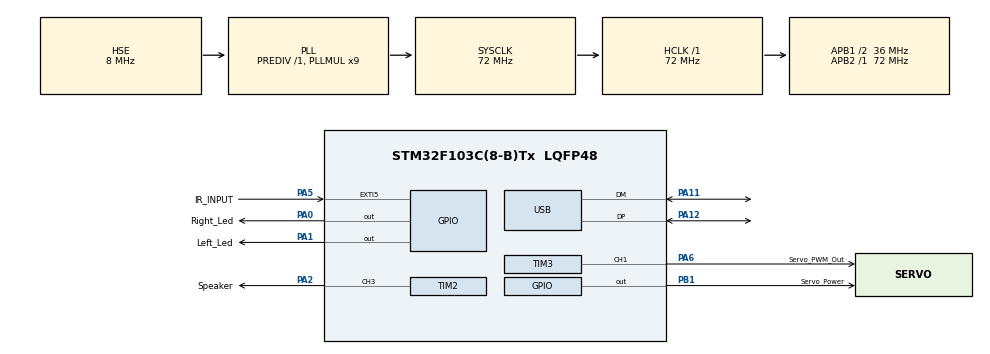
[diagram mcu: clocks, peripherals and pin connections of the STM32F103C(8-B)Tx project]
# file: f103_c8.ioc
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Mcu.Family=STM32F1
Mcu.Name=STM32F103C(8-B)Tx
Mcu.Package=LQFP48
NVIC.EXTI9_5_IRQn=true\:0\:0\:false\:false\:true\:true
NVIC.PriorityGroup=NVIC_PRIORITYGROUP_4
NVIC.TIM2_IRQn=true\:0\:0\:false\:false\:true\:true
NVIC.USB_LP_CAN1_RX0_IRQn=true\:0\:0\:false\:false\:true\:false
PA0-WKUP.GPIO_Label=Right_Led
PA0-WKUP.Signal=GPIO_Output
PA1.GPIO_Label=Left_Led
PA1.Signal=GPIO_Output
PA11.Mode=Device
PA11.Signal=USB_DM
PA12.Mode=Device
PA12.Signal=USB_DP
PA13.Mode=Serial_Wire
PA13.Signal=SYS_JTMS-SWDIO
PA14.Mode=Serial_Wire
PA14.Signal=SYS_JTCK-SWCLK
PA2.GPIO_Label=Speaker
PA2.Signal=S_TIM2_CH3
PA5.GPIO_Label=IR_INPUT
PA5.GPIO_ModeDefaultEXTI=GPIO_MODE_IT_RISING_FALLING
PA5.Signal=GPXTI5
PA6.GPIO_Label=Servo_PWM_Out
PA6.Signal=S_TIM3_CH1
PB1.GPIO_Label=Servo_Power
PB1.Signal=GPIO_Output
PC14-OSC32_IN.Mode=LSE-External-Oscillator
PC14-OSC32_IN.Signal=RCC_OSC32_IN
PC15-OSC32_OUT.Mode=LSE-External-Oscillator
PC15-OSC32_OUT.Signal=RCC_OSC32_OUT
PD0-OSC_IN.Mode=HSE-External-Oscillator
PD0-OSC_IN.Signal=RCC_OSC_IN
PD1-OSC_OUT.Mode=HSE-External-Oscillator
PD1-OSC_OUT.Signal=RCC_OSC_OUT
ProjectManager.HeapSize=0x200
ProjectManager.StackSize=0x400
ProjectManager.TargetToolchain=SW4STM32
RCC.AHBFreq_Value=72000000
RCC.APB1CLKDivider=RCC_HCLK_DIV2
RCC.APB1Freq_Value=36000000
RCC.APB1TimFreq_Value=72000000
RCC.APB2Freq_Value=72000000
RCC.APB2TimFreq_Value=72000000
RCC.HCLKFreq_Value=72000000
RCC.PLLMUL=RCC_PLL_MUL9
RCC.PLLSourceVirtual=RCC_PLLSOURCE_HSE
RCC.SYSCLKFreq_VALUE=72000000
RCC.SYSCLKSource=RCC_SYSCLKSOURCE_PLLCLK
RCC.USBFreq_Value=48000000
RCC.USBPrescaler=RCC_USBCLKSOURCE_PLL_DIV1_5
SH.S_TIM2_CH3.0=TIM2_CH3,PWM Generation3 CH3
SH.S_TIM3_CH1.0=TIM3_CH1,PWM Generation1 CH1
TIM2.Channel-PWM\ Generation3\ CH3=TIM_CHANNEL_3
TIM2.Period=450
TIM2.Prescaler=0
TIM3.Channel-PWM\ Generation1\ CH1=TIM_CHANNEL_1
TIM3.Period=1800-1
TIM3.Prescaler=800-1
TIM3.Pulse-PWM\ Generation1\ CH1=90
USB_DEVICE.CLASS_NAME_FS=CDC
USB_DEVICE.VirtualMode=Cdc
USB_DEVICE.VirtualModeFS=Cdc_FS
VP_TIM2_VS_ClockSourceINT.Mode=Internal
VP_TIM3_VS_ClockSourceINT.Mode=Internal
VP_USB_DEVICE_VS_USB_DEVICE_CDC_FS.Mode=CDC_FS
board=custom

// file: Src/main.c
/* USER CODE BEGIN Header */
/**
  ******************************************************************************
  * @file           : main.c
  * @brief          : Main program body
  ******************************************************************************
  * This notice applies to any and all portions of this file
  * that are not between comment pairs USER CODE BEGIN and
  * USER CODE END. Other portions of this file, whether
  * inserted by the user or by software development tools
  * are owned by their respective copyright owners.
  *
  * Copyright (c) 2018 STMicroelectronics International N.V.
  * All rights reserved.
  *
  * Redistribution and use in source and binary forms, with or without
  * modification, are permitted, provided that the following conditions are met:
  *
  * 1. Redistribution of source code must retain the above copyright notice,
  *    this list of conditions and the following disclaimer.
  * 2. Redistributions in binary form must reproduce the above copyright notice,
  *    this list of conditions and the following disclaimer in the documentation
  *    and/or other materials provided with the distribution.
  * 3. Neither the name of STMicroelectronics nor the names of other
  *    contributors to this software may be used to endorse or promote products
  *    derived from this software without specific written permission.
  * 4. This software, including modifications and/or derivative works of this
  *    software, must execute solely and exclusively on microcontroller or
  *    microprocessor devices manufactured by or for STMicroelectronics.
  * 5. Redistribution and use of this software other than as permitted under
  *    this license is void and will automatically terminate your rights under
  *    this license.
  *
  * THIS SOFTWARE IS PROVIDED BY STMICROELECTRONICS AND CONTRIBUTORS "AS IS"
  * AND ANY EXPRESS, IMPLIED OR STATUTORY WARRANTIES, INCLUDING, BUT NOT
  * LIMITED TO, THE IMPLIED WARRANTIES OF MERCHANTABILITY, FITNESS FOR A
  * PARTICULAR PURPOSE AND NON-INFRINGEMENT OF THIRD PARTY INTELLECTUAL PROPERTY
  * RIGHTS ARE DISCLAIMED TO THE FULLEST EXTENT PERMITTED BY LAW. IN NO EVENT
  * SHALL STMICROELECTRONICS OR CONTRIBUTORS BE LIABLE FOR ANY DIRECT, INDIRECT,
  * INCIDENTAL, SPECIAL, EXEMPLARY, OR CONSEQUENTIAL DAMAGES (INCLUDING, BUT NOT
  * LIMITED TO, PROCUREMENT OF SUBSTITUTE GOODS OR SERVICES; LOSS OF USE, DATA,
  * OR PROFITS; OR BUSINESS INTERRUPTION) HOWEVER CAUSED AND ON ANY THEORY OF
  * LIABILITY, WHETHER IN CONTRACT, STRICT LIABILITY, OR TORT (INCLUDING
  * NEGLIGENCE OR OTHERWISE) ARISING IN ANY WAY OUT OF THE USE OF THIS SOFTWARE,
  * EVEN IF ADVISED OF THE POSSIBILITY OF SUCH DAMAGE.
  *
  ******************************************************************************
  */
/* USER CODE END Header */

#include "main.h"
#include "tim.h"
#include "usb_device.h"
#include "gpio.h"

/* USER CODE BEGIN Includes */
#include "bell.h"
#include "irmp.h"
/* USER CODE END Includes */

/* USER CODE BEGIN PD */
#define FALSE		0
#define TRUE      	1
#define OFF       	0
#define ON        	1
#define UP        	0
#define DOWN      	1
#define GO_UP     	-1
#define GO_DOWN    	1
#define ANGLE_PWM_COMPARE_MIN                   90
#define BARRIER_START_ANGLE                      0
#define BARRIER_STOP_ANGLE                      80
#define BARRIER_ANGLE_STEP_INTERVAL_MS         20UL
#define RUNNING 	0
#define STOPPED 	1
#define IR_KEY_ADDRESS  48896
#define LIGHTS_TOGGLE_INTERVAL_MS 		800UL
#define IDLE_SLEEP_TIMEOUT_MS			5000UL
/* USER CODE END PD */

/* USER CODE BEGIN PM */
#ifdef APP_DEBUG
#define DEBUG_APP(debug_line) \
  do { \
    char* message = debug_line; \
    CDC_Transmit_FS(message, strlen(message)); \
  } while(0)
#endif

#define SERVO_POWER_UP()				HAL_GPIO_WritePin(Servo_Power_GPIO_Port, Servo_Power_Pin, GPIO_PIN_SET)
#define SERVO_POWER_DOWN()				HAL_GPIO_WritePin(Servo_Power_GPIO_Port, Servo_Power_Pin, GPIO_PIN_RESET)
#define LEFT_LIGHT_OFF()				HAL_GPIO_WritePin(Left_Led_GPIO_Port, Left_Led_Pin, GPIO_PIN_RESET)
#define RIGHT_LIGHT_OFF()				HAL_GPIO_WritePin(Right_Led_GPIO_Port, Right_Led_Pin, GPIO_PIN_RESET)
#define TOGGLE_LEFT_LIGHT()				HAL_GPIO_TogglePin(Left_Led_GPIO_Port, Left_Led_Pin)
#define TOGGLE_RIGHT_LIGHT()			HAL_GPIO_TogglePin(Right_Led_GPIO_Port, Right_Led_Pin)
#define GET_LEFT_LIGHT_STATE()			HAL_GPIO_ReadPin(Left_Led_GPIO_Port, Left_Led_Pin)
#define GET_RIGHT_LIGHT_STATE()			HAL_GPIO_ReadPin(Right_Led_GPIO_Port, Right_Led_Pin)
#define SET_LEFT_LIGHT_STATE(state)		HAL_GPIO_WritePin(Left_Led_GPIO_Port, Left_Led_Pin, state)
#define SET_RIGHT_LIGHT_STATE(state)	HAL_GPIO_WritePin(Right_Led_GPIO_Port, Right_Led_Pin, state)
#define LIGHTS_OFF()	\
	LEFT_LIGHT_OFF();	\
	RIGHT_LIGHT_OFF()
/* USER CODE END PM */

/* USER CODE BEGIN PV */
/* Private variables ---------------------------------------------------------*/
static uint8_t barrier_pwm_state = STOPPED;
static uint8_t barrier_state = UP;
static int8_t barrier_direction = GO_UP;
static uint8_t audio_tick = FALSE;
/* USER CODE END PV */

void SystemClock_Config(void);
/* USER CODE BEGIN PFP */
/* Private function prototypes -----------------------------------------------*/

/* USER CODE END PFP */

/* USER CODE BEGIN 0 */
void HAL_TIM_PeriodElapsedCallback(TIM_HandleTypeDef *htim) {
	// this callback runs with a frequency of 160KHz for PWM Audio output
	static uint32_t freq_divider = 0;

	if (htim->Instance == htim2.Instance) {
		// IR & Audio sampling frequency must be ~16KHz
		if (++freq_divider >= 10) {
			irmp_ISR();
			audio_tick = TRUE;
			freq_divider = 0;
		}
	}
}

static void Audio_Task(void) {
	static uint32_t sound_sample_index = 0;

	if (audio_tick) {
		if (barrier_direction == GO_DOWN || barrier_state == DOWN) {
			if (++sound_sample_index >= SND_DATA_SAMPLES) {
				sound_sample_index = 0;
			}
			__HAL_TIM_SET_COMPARE(&htim2, TIM_CHANNEL_3,
					bell_sound_data[sound_sample_index]);
		}

		if (barrier_state == UP) {
			sound_sample_index = 0;
			__HAL_TIM_SET_COMPARE(&htim2, TIM_CHANNEL_3, 0);
		}
		audio_tick = FALSE;
	}
}

static void IR_Task(void) {
	IRMP_DATA irmp_data;

	if (irmp_get_data(&irmp_data)) {
#ifdef APP_DEBUG
		char ir_message[128];
		//DEBUG_APP("GOT IR SIGNAL\r\n");
		sprintf(ir_message, "IR Command: %d Address: %d\r\n", irmp_data.command,
				irmp_data.address);
		DEBUG_APP(ir_message);
#endif
		if (irmp_data.address == IR_KEY_ADDRESS) {
			if (barrier_state == UP) {
				barrier_direction = GO_DOWN;
			}

			if (barrier_state == DOWN) {
				barrier_direction = GO_UP;
			}
		}
	}
}

static void Lights_Task(void) {
	static uint32_t last_tick = 0;

	if (barrier_direction == GO_DOWN || barrier_state == DOWN) {
		if ((HAL_GetTick() - last_tick) >= LIGHTS_TOGGLE_INTERVAL_MS) {
			TOGGLE_RIGHT_LIGHT();
			SET_LEFT_LIGHT_STATE(!GET_RIGHT_LIGHT_STATE());
			last_tick = HAL_GetTick();
		}
	}

	if (barrier_state == UP) {
		LIGHTS_OFF();
	}
}

static void Servo_Barrier_Task(void) {
	// 1 -> 1,5ms <=> 0 -> 90 degrees
	static uint32_t last_tick = 0;
	int16_t current_angle = __HAL_TIM_GET_COMPARE(&htim3, TIM_CHANNEL_1) - ANGLE_PWM_COMPARE_MIN;

	if ((barrier_direction == GO_DOWN) && (current_angle > BARRIER_STOP_ANGLE)) {
		barrier_state = DOWN;
		HAL_TIM_PWM_Stop(&htim3, TIM_CHANNEL_1);
		barrier_pwm_state = STOPPED;
		return;
	}

	if ((barrier_direction == GO_UP) && (current_angle < BARRIER_START_ANGLE)) {
		barrier_state = UP;
		HAL_TIM_PWM_Stop(&htim3, TIM_CHANNEL_1);
		barrier_pwm_state = STOPPED;
		return;
	}

	if (barrier_pwm_state == STOPPED) {
		HAL_TIM_PWM_Start(&htim3, TIM_CHANNEL_1);
		barrier_pwm_state = RUNNING;
	}

	if (HAL_GetTick() - last_tick >= BARRIER_ANGLE_STEP_INTERVAL_MS) {
		__HAL_TIM_SET_COMPARE(&htim3, TIM_CHANNEL_1, barrier_direction + __HAL_TIM_GET_COMPARE(&htim3, TIM_CHANNEL_1));
		last_tick = HAL_GetTick();
	}
}

static void Sleep_Task(void) {
	static uint32_t last_sleep_timestamp;

	if (barrier_state != UP) {
		// reset timestamp when not in resting state
		last_sleep_timestamp = HAL_GetTick();
		return;
	}

	if ((barrier_state == UP) && (HAL_GetTick() - last_sleep_timestamp) >= IDLE_SLEEP_TIMEOUT_MS) {
		// HAL enter sleep
		LIGHTS_OFF();
		//SERVO_POWER_DOWN();
		HAL_TIM_Base_Stop_IT(&htim2);
		HAL_TIM_PWM_Stop(&htim2, TIM_CHANNEL_3);
		HAL_SuspendTick();
#ifdef APP_DEBUG
		DEBUG_APP("Entering sleep ...\r\n");
#endif
		HAL_PWR_EnterSTOPMode(PWR_LOWPOWERREGULATOR_ON, PWR_STOPENTRY_WFI);
		SystemClock_Config();
		HAL_ResumeTick();
		//SERVO_POWER_UP();
		HAL_TIM_Base_Start_IT(&htim2);
		HAL_TIM_PWM_Start(&htim2, TIM_CHANNEL_3);
		last_sleep_timestamp = HAL_GetTick();
#ifdef APP_DEBUG
		DEBUG_APP("Waking up from sleep ...\r\n");
#endif
	}
}
/* USER CODE END 0 */

int main(void)
{

  /* MCU Configuration--------------------------------------------------------*/

  /* Reset of all peripherals, Initializes the Flash interface and the Systick. */
  HAL_Init();

  /* Configure the system clock */
  SystemClock_Config();

  /* Initialize all configured peripherals */
  MX_GPIO_Init();
  MX_TIM3_Init();
#ifdef APP_DEBUG
  MX_USB_DEVICE_Init();
#endif
  MX_TIM2_Init();
  /* USER CODE BEGIN 2 */
  //HAL_TIM_PWM_Start(&htim3, TIM_CHANNEL_1);
  barrier_pwm_state = STOPPED;
  HAL_TIM_Base_Start_IT(&htim2);
  HAL_TIM_PWM_Start(&htim2, TIM_CHANNEL_3);
  irmp_init(); // initialize irmp
#ifdef APP_DEBUG
	DEBUG_APP("Started ...\r\n");
#endif
  /* USER CODE END 2 */

  /* Infinite loop */
	while (1) {

    /* USER CODE BEGIN 3 */
		IR_Task();
		Lights_Task();
		Audio_Task();
		Servo_Barrier_Task();
		Sleep_Task();
	}
  /* USER CODE END 3 */
}

void SystemClock_Config(void)
{
  RCC_OscInitTypeDef RCC_OscInitStruct = {0};
  RCC_ClkInitTypeDef RCC_ClkInitStruct = {0};
  RCC_PeriphCLKInitTypeDef PeriphClkInit = {0};

  /**Initializes the CPU, AHB and APB busses clocks
  */
  RCC_OscInitStruct.OscillatorType = RCC_OSCILLATORTYPE_HSE;
  RCC_OscInitStruct.HSEState = RCC_HSE_ON;
  RCC_OscInitStruct.HSEPredivValue = RCC_HSE_PREDIV_DIV1;
  RCC_OscInitStruct.HSIState = RCC_HSI_ON;
  RCC_OscInitStruct.PLL.PLLState = RCC_PLL_ON;
  RCC_OscInitStruct.PLL.PLLSource = RCC_PLLSOURCE_HSE;
  RCC_OscInitStruct.PLL.PLLMUL = RCC_PLL_MUL9;
  if (HAL_RCC_OscConfig(&RCC_OscInitStruct) != HAL_OK)
  {
    Error_Handler();
  }
  /**Initializes the CPU, AHB and APB busses clocks
  */
  RCC_ClkInitStruct.ClockType = RCC_CLOCKTYPE_HCLK|RCC_CLOCKTYPE_SYSCLK
                              |RCC_CLOCKTYPE_PCLK1|RCC_CLOCKTYPE_PCLK2;
  RCC_ClkInitStruct.SYSCLKSource = RCC_SYSCLKSOURCE_PLLCLK;
  RCC_ClkInitStruct.AHBCLKDivider = RCC_SYSCLK_DIV1;
  RCC_ClkInitStruct.APB1CLKDivider = RCC_HCLK_DIV2;
  RCC_ClkInitStruct.APB2CLKDivider = RCC_HCLK_DIV1;

  if (HAL_RCC_ClockConfig(&RCC_ClkInitStruct, FLASH_LATENCY_2) != HAL_OK)
  {
    Error_Handler();
  }
  PeriphClkInit.PeriphClockSelection = RCC_PERIPHCLK_USB;
  PeriphClkInit.UsbClockSelection = RCC_USBCLKSOURCE_PLL_DIV1_5;
  if (HAL_RCCEx_PeriphCLKConfig(&PeriphClkInit) != HAL_OK)
  {
    Error_Handler();
  }
}

void Error_Handler(void)
{
	while (1) {
	}
}

/************************ (C) COPYRIGHT STMicroelectronics *****END OF FILE****/
